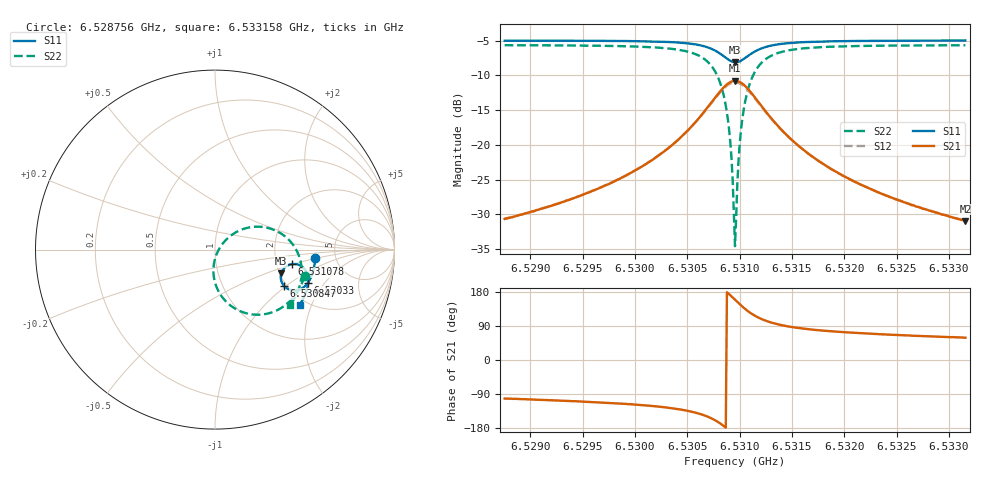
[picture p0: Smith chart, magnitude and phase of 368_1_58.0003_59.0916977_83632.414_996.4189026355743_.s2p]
#  HZ  S  RI  R  50.00
! Rohde & Schwarz Vector Network Analyzer
! Rohde-Schwarz,ZNB20-2Port,1311601062101988,3.16
! Created: UTC 3/21/2024, 1:06:48 AM
! freq[Hz]  re:S11  im:S11  re:S21  im:S21  re:S12  im:S12  re:S22  im:S22
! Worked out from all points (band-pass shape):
!   401 points, 6.528756 GHz to 6.533158 GHz, reference 50 ohm
!   highest |S21| = -10.78 dB at 6.530957 GHz (marker M1); lowest = -30.9 dB at 6.533158 GHz (marker M2)
!   |S21| within 3 dB of the highest: 6.530738 GHz to 6.531178 GHz (439.9 kHz wide, 0.00674 % of centre)
!   lowest |S11| = -8.1 dB at 6.530957 GHz (marker M3), VSWR 2.29, Z = 102 - j32 ohm
!   |S11| at or under -10 dB: nowhere
!   |S22| runs from -34.6 to -5.7 dB; largest |S21 - S12| = 0.011
!   S11 on the Smith chart (normalised r, x): 6.528756 GHz: 3.50, -0.45; 6.53033 GHz: 2.59, -1.39; 6.530847 GHz: 1.93, -0.97; 6.531078 GHz: 2.42, -0.48; 6.533158 GHz: 1.82, -1.65
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6.5287558e9  0.5596 -0.0443  -0.00597 -0.0287  -0.0066 -0.0287  0.4996 -0.1476
6.5294932e9  0.5504 -0.1048  -0.0147 -0.041  -0.0155 -0.0407  0.4709 -0.2145
6.5302305e9  0.5238 -0.176  -0.046 -0.0706  -0.048 -0.0694  0.3944 -0.3074
6.5303296e9  0.5159 -0.1874  -0.0569 -0.0775  -0.059 -0.0759  0.3714 -0.3236
6.5306818e9  0.4531 -0.2271  -0.1531 -0.0956  -0.1552 -0.0897  0.1887 -0.3583
6.5307808e9  0.4142 -0.2226  -0.2133 -0.0724  -0.2131 -0.0639  0.0854 -0.3108
6.5308469e9  0.3853 -0.2027  -0.2566 -0.0283  -0.2525 -0.019  0.0183 -0.2298
6.5309019e9  0.3686 -0.1718  -0.2781 0.0318  -0.2704 0.0394  -0.00885 -0.1259
6.5309239e9  0.3663 -0.1566  -0.279 0.0602  -0.2704 0.0663  -0.00603 -0.079
6.5309349e9  0.3664 -0.1487  -0.2775 0.0749  -0.2683 0.08  -0.000941 -0.0554
6.5309459e9  0.3672 -0.1407  -0.2746 0.0891  -0.2649 0.0935  0.00625 -0.0324
6.5309569e9  0.3691 -0.1329  -0.2701 0.1031  -0.2603 0.1068  0.0159 -0.00986
6.5309679e9  0.3717 -0.1254  -0.2641 0.1168  -0.2544 0.1195  0.0276 0.0117
6.5309789e9  0.3751 -0.1181  -0.257 0.1296  -0.2473 0.1313  0.0415 0.0316
6.5310009e9  0.3842 -0.1052  -0.2394 0.1526  -0.2302 0.1527  0.0741 0.0666
6.5310229e9  0.3953 -0.0948  -0.2182 0.1711  -0.2101 0.17  0.1116 0.0938
6.531078e9  0.4268 -0.0809  -0.1612 0.1963  -0.1554 0.1936  0.2105 0.1266
6.531155e9  0.4655 -0.0844  -0.0932 0.1945  -0.0901 0.1919  0.325 0.1112
6.5312651e9  0.4982 -0.107  -0.0357 0.1646  -0.0342 0.1633  0.4185 0.047
6.5316943e9  0.5199 -0.1829  0.0141 0.0814  0.015 0.0812  0.4831 -0.1298
6.5324316e9  0.4995 -0.2554  0.0165 0.039  0.0174 0.0388  0.4555 -0.2453
6.533158e9  0.4715 -0.3085  0.0147 0.0243  0.0151 0.0242  0.4202 -0.3075
